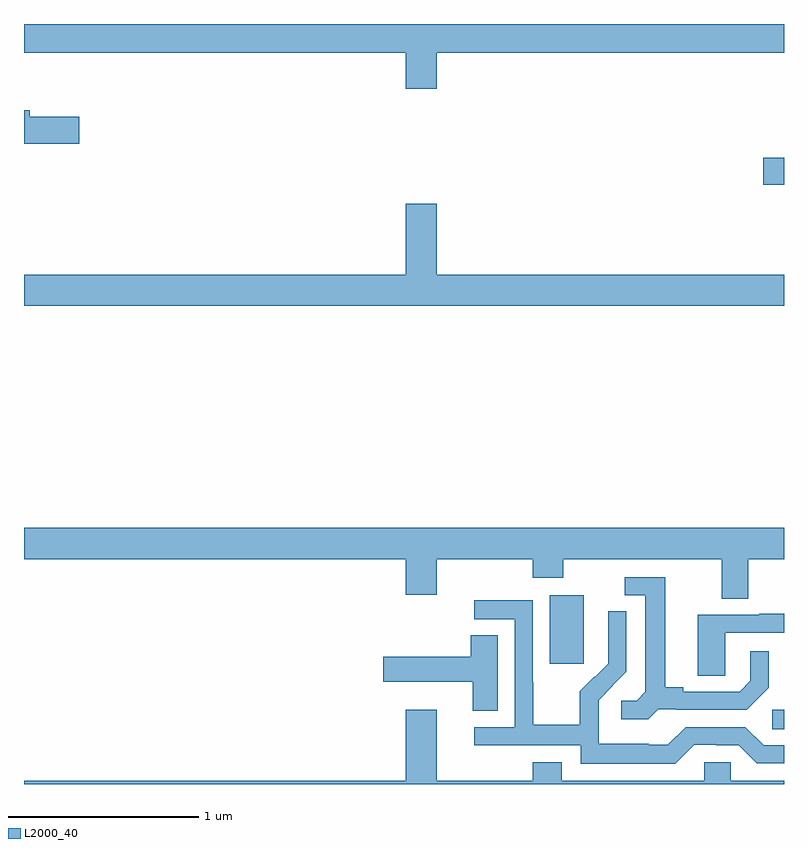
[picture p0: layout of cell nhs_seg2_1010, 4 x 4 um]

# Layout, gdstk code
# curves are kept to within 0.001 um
import gdstk
lib = gdstk.Library(unit=1e-6, precision=1e-09)
def R(c, l, rs):  # rectangles x0, y0, x1, y1
    for r in rs: c.add(gdstk.rectangle(r[:2], r[2:], *l))
def P(c, l, *ps):  # polygons
    for p in ps: c.add(gdstk.Polygon(p, *l))
L2000_40 = (2000, 40)

nhs_seg2_1010 = lib.new_cell('nhs_seg2_1010')
R(nhs_seg2_1010, L2000_40, [(166.938,632.089,167,632.19), (165.767,632.433,165.946,632.794), (166.89,634.954,167,635.096)])
P(nhs_seg2_1010, L2000_40, [(165.172,635.648),(167,635.648),(167,635.8),(163,635.8),(163,635.648),(165.008,635.648),(165.008,635.46),(165.172,635.46)],
  [(163.291,635.313),(163.03,635.313),(163.03,635.347),(163,635.347),(163,635.171),(163.291,635.171)],
  [(167,634.48),(165.172,634.48),(165.172,634.855),(165.008,634.855),(165.008,634.48),(163,634.48),(163,634.316),(167,634.316)],
  [(166.813,632.984),(167,632.984),(167,633.148),(163,633.148),(163,632.984),(165.008,632.984),(165.008,632.796),(165.172,632.796),(165.172,632.984),(165.677,632.984),(165.677,632.885),(165.837,632.885),(165.837,632.984),(166.673,632.984),(166.673,632.776),(166.813,632.776)],
  [(166.338,632.193),(166.432,632.193),(166.432,632.19),(166.804,632.19),(166.92,632.306),(166.92,632.5),(166.823,632.5),(166.823,632.343),(166.766,632.286),(166.471,632.286),(166.471,632.309),(166.375,632.309),(166.375,632.889),(166.161,632.889),(166.161,632.793),(166.271,632.793),(166.271,632.285),(166.224,632.238),(166.143,632.238),(166.143,632.141),(166.286,632.141)],
  [(166.527,632.007),(166.643,632.007),(166.643,632.004),(166.761,632.004),(166.857,631.908),(167,631.908),(167,632.004),(166.893,632.004),(166.797,632.1),(166.482,632.1),(166.389,632.007),(166.289,632.007),(166.289,632.011),(166.026,632.011),(166.026,632.145),(166.024,632.145),(166.024,632.242),(166.17,632.39),(166.17,632.708),(166.074,632.708),(166.074,632.554),(166.076,632.554),(166.076,632.432),(166.005,632.361),(166.002,632.364),(165.925,632.287),(165.925,632.113),(165.681,632.113),(165.681,632.336),(165.678,632.336),(165.678,632.766),(165.369,632.766),(165.369,632.667),(165.582,632.667),(165.582,632.1),(165.369,632.1),(165.369,632.004),(165.93,632.004),(165.93,631.907),(166.427,631.907)],
  [(166.692,632.595),(167,632.595),(167,632.695),(166.871,632.695),(166.871,632.691),(166.547,632.691),(166.547,632.371),(166.692,632.371)],
  [(165.493,632.582),(165.35,632.582),(165.35,632.469),(164.892,632.469),(164.892,632.339),(165.362,632.339),(165.362,632.185),(165.493,632.185)],
  [(167,631.816),(166.719,631.816),(166.719,631.914),(166.581,631.914),(166.581,631.816),(165.829,631.816),(165.829,631.915),(165.677,631.915),(165.677,631.816),(165.172,631.816),(165.172,632.191),(165.008,632.191),(165.008,631.816),(163,631.816),(163,631.8),(167,631.8)])

lib.write_gds('nhs_seg2_1010.gds')
